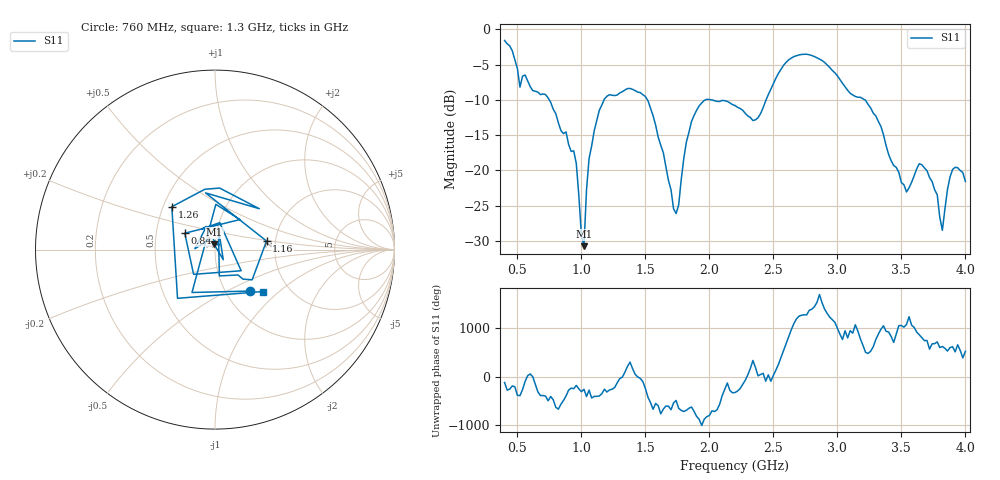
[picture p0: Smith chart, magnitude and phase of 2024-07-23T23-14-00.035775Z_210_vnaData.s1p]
!Created with skrf (http://scikit-rf.org).
# Hz S RI R 50.0
!freq ReS11 ImS11
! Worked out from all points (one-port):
!   181 points, 400 MHz to 4 GHz, reference 50 ohm
!   lowest |S11| = -30.7 dB at 1.02 GHz (marker M1), VSWR 1.06, Z = 49.5 + j2.85 ohm
!   |S11| at or under -10 dB: 1.516 GHz to 1.97 GHz (454.1 MHz wide, 26.1 % of centre); 2.015 GHz to 2.443 GHz (428.3 MHz wide, 19.2 % of centre); 3.214 GHz to end of sweep (the widest 3 of 4)
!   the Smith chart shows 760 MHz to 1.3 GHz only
!   S11 on the Smith chart (normalised r, x): 760 MHz: 1.30, -0.66; 840 MHz: 0.70, +0.13; 1.16 GHz: 1.79, +0.19; 1.26 GHz: 0.55, +0.30; 1.3 GHz: 1.47, -0.79
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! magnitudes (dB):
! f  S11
! 400 MHz  -1.6
! 520 MHz  -8.2
! 760 MHz  -10.3
! 840 MHz  -14.4
! 860 MHz  -14.8
! 960 MHz  -19.0
! 1 GHz  -29.2
! 1.02 GHz  -30.7
! 1.06 GHz  -18.3
! 1.16 GHz  -10.7
! 1.26 GHz  -9.4
! 1.3 GHz  -9.0
! 1.52 GHz  -10.1
! 1.72 GHz  -25.5
! 1.76 GHz  -24.9
! 1.82 GHz  -16.0
! 1.9 GHz  -11.5
! 2.2 GHz  -10.8
! 2.38 GHz  -12.5
! 2.66 GHz  -3.9
! 3.1 GHz  -9.1
! 3.3 GHz  -12.3
! 3.56 GHz  -22.5
! 3.7 GHz  -20.0
! 3.78 GHz  -23.5
! 3.82 GHz  -28.5
! 3.9 GHz  -19.9
! 4 GHz  -21.6
